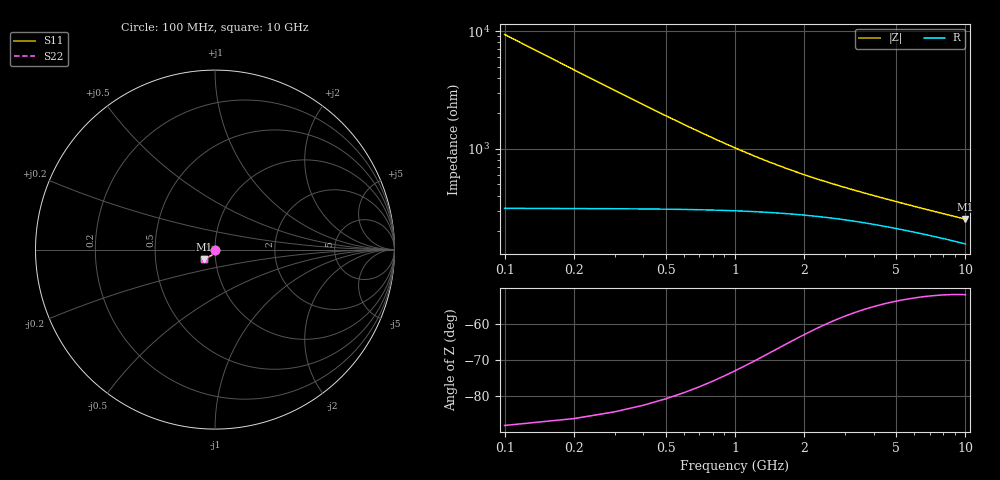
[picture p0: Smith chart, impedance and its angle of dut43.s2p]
! Touchstone file exported from HFSS 2024.1.0
!  File:  C:/UserFiles/LocalFiles/RDL_TSV_Batchsim/temp_TSV1_43_1778748310.aedt
!  Generated:  04:48:54 PM May 14, 2026
!  Design:  TSV1
!  Project:  temp_TSV1_43_1778748310
!  Setup:  Setup1
!  Solution:  Sweep
! Variables:
!  dtsv = 24.26um
!  hbump = 3um
!  htsv = 57.66um
!  lrdl = 252.1521522um
!  p = 40
!  p1 = 56.23um
!  t = 500um
!  trdl = 3um
!  wrdl = 24.89489489um
# GHz S MA R 50.000000
! Terminal data exported
! Port[1] = TSV22_T1
! Port[2] = TSV22_T2
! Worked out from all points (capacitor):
!   100 points, 100 MHz to 10 GHz, reference 50 ohm
!   read as one part in shunt: C = 170 fF near 100 MHz
!   lowest |Z| = 254 ohm at 10 GHz (marker M1)
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0.1  0.002445 -90.6  0.9998 -0.2  0.9998 -0.2  0.002445 -90.6
! Gamma 0 0 0 0
! Port Impedance 50 0 50 0
0.2  0.004874 -93.4  0.9995 -0.3  0.9995 -0.3  0.004874 -93.4
0.3  0.007276 -95.8  0.9991 -0.5  0.9991 -0.5  0.007276 -95.8
0.4  0.009635 -97.9  0.9984 -0.6  0.9984 -0.6  0.009635 -97.9
0.5  0.01194 -100.0  0.9976 -0.8  0.9976 -0.8  0.01194 -100.0
0.6  0.01418 -101.9  0.9967 -0.9  0.9967 -0.9  0.01418 -101.9
0.7  0.01636 -103.8  0.9957 -1.1  0.9957 -1.1  0.01636 -103.8
0.8  0.01845 -105.6  0.9946 -1.2  0.9946 -1.2  0.01845 -105.6
0.9  0.02046 -107.3  0.9935 -1.3  0.9935 -1.3  0.02046 -107.3
1.1  0.02423 -110.5  0.9911 -1.5  0.9911 -1.5  0.02423 -110.5
1.4  0.02926 -114.7  0.9875 -1.8  0.9875 -1.8  0.02926 -114.7
1.6  0.03222 -117.1  0.9851 -2.0  0.9851 -2.0  0.03222 -117.1
1.8  0.03492 -119.2  0.9828 -2.1  0.9828 -2.1  0.03492 -119.2
2.1  0.03852 -121.9  0.9796 -2.3  0.9796 -2.3  0.03852 -121.9
2.5  0.04268 -124.8  0.9757 -2.6  0.9757 -2.6  0.04268 -124.8
2.9  0.04629 -127.1  0.9722 -2.8  0.9722 -2.8  0.04629 -127.1
3.4  0.05024 -129.3  0.9684 -3.0  0.9684 -3.0  0.05024 -129.3
4.2  0.05567 -131.9  0.9632 -3.3  0.9632 -3.3  0.05567 -131.9
5.1  0.0609 -134.0  0.9582 -3.6  0.9582 -3.6  0.0609 -134.0
6.7  0.0686 -136.5  0.951 -4.2  0.951 -4.2  0.0686 -136.5
8.4  0.07525 -138.3  0.945 -4.7  0.945 -4.7  0.07525 -138.3
10  0.08052 -139.3  0.9404 -5.2  0.9404 -5.2  0.08052 -139.3
